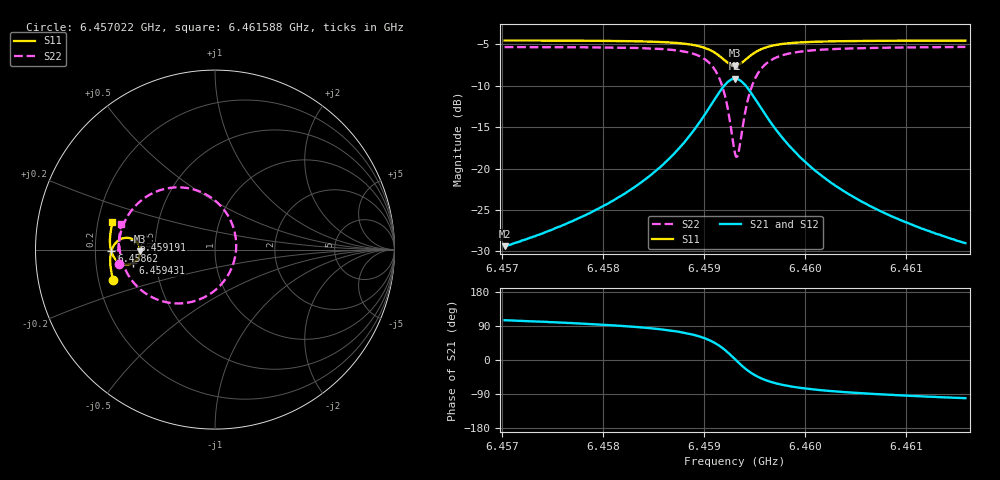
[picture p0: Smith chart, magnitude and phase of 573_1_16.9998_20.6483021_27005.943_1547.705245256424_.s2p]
#  HZ  S  RI  R  50.00
! Rohde & Schwarz Vector Network Analyzer
! Rohde-Schwarz,ZNB20-2Port,1311601062101988,3.16
! Created: UTC 3/20/2024, 11:17:47 PM
! freq[Hz]  re:S11  im:S11  re:S21  im:S21  re:S12  im:S12  re:S22  im:S22
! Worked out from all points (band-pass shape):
!   401 points, 6.457022 GHz to 6.461588 GHz, reference 50 ohm
!   highest |S21| = -9.16 dB at 6.459305 GHz (marker M1); lowest = -29.4 dB at 6.457022 GHz (marker M2)
!   |S21| within 3 dB of the highest: 6.459077 GHz to 6.459533 GHz (456.9 kHz wide, 0.00707 % of centre)
!   lowest |S11| = -7.6 dB at 6.459305 GHz (marker M3), VSWR 2.43, Z = 20.6 - j0.426 ohm
!   |S11| at or under -10 dB: nowhere
!   |S22| runs from -18.6 to -5.3 dB; largest |S21 - S12| = 0.014
!   S11 on the Smith chart (normalised r, x): 6.457022 GHz: 0.26, -0.14; 6.45862 GHz: 0.27, -0.01; 6.459191 GHz: 0.37, +0.05; 6.459431 GHz: 0.37, -0.07; 6.461588 GHz: 0.26, +0.12
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6.4570217e9  -0.5676 -0.1687  -0.00877 0.0329  -0.00706 0.0327  -0.5338 -0.0807
6.4577866e9  -0.5811 -0.1017  -0.00533 0.0508  -0.00282 0.0502  -0.5385 0.00941
6.4582204e9  -0.5838 -0.0579  0.00109 0.071  0.00435 0.0698  -0.5294 0.0791
6.4585515e9  -0.5799 -0.018  0.0147 0.0996  0.0188 0.0968  -0.5038 0.1548
6.45862e9  -0.5775 -0.00855  0.0202 0.1079  0.0244 0.1047  -0.4935 0.1748
6.4588141e9  -0.5647 0.0219  0.0471 0.139  0.0513 0.1339  -0.443 0.2442
6.4589625e9  -0.5417 0.0482  0.093 0.1694  0.0961 0.1627  -0.3585 0.3088
6.4590995e9  -0.4976 0.0655  0.1807 0.1859  0.1816 0.1784  -0.1976 0.3468
6.4591908e9  -0.4528 0.0551  0.2711 0.1541  0.2715 0.1482  -0.0299 0.2952
6.4592593e9  -0.4237 0.0226  0.3318 0.0814  0.3342 0.0761  0.0861 0.1641
6.459305e9  -0.4168 -0.00856  0.3481 0.0129  0.3521 0.00587  0.1181 0.0359
6.4593164e9  -0.4174 -0.0168  0.3481 -0.00496  0.3519 -0.0127  0.1177 0.0018
6.4593392e9  -0.4207 -0.0325  0.3423 -0.04  0.3462 -0.0491  0.1062 -0.0646
6.4593849e9  -0.4365 -0.0587  0.3132 -0.1002  0.3155 -0.1123  0.0474 -0.1787
6.4594305e9  -0.4589 -0.0752  0.2707 -0.1415  0.2698 -0.155  -0.0389 -0.2542
6.4595219e9  -0.5025 -0.0821  0.1851 -0.1727  0.1788 -0.1843  -0.2097 -0.3
6.4596703e9  -0.5465 -0.0616  0.0965 -0.1584  0.0879 -0.1646  -0.3788 -0.2493
6.4598301e9  -0.5682 -0.0337  0.0513 -0.13  0.0436 -0.1329  -0.4597 -0.1761
6.4600699e9  -0.5809 0.00181  0.0222 -0.0981  0.0162 -0.0986  -0.5078 -0.0931
6.4603895e9  -0.5854 0.0403  0.00682 -0.0724  0.00245 -0.072  -0.5282 -0.0178
6.4608348e9  -0.5835 0.0853  -0.00162 -0.0523  -0.00451 -0.0515  -0.533 0.0549
6.4615883e9  -0.5712 0.1522  -0.00661 -0.0349  -0.00845 -0.0339  -0.5214 0.1447
